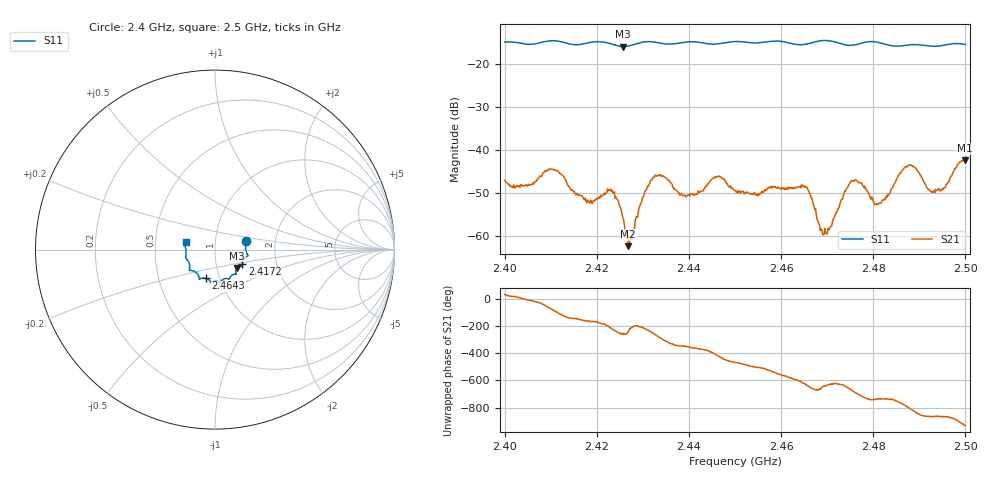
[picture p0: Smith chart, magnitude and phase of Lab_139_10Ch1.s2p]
# Hz S RI R 50
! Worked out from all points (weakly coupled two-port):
!   601 points, 2.4 GHz to 2.5 GHz, reference 50 ohm
!   highest |S21| = -42.31 dB at 2.4998 GHz (marker M1); lowest = -62.3 dB at 2.4268 GHz (marker M2)
!   lowest |S11| = -15.9 dB at 2.4257 GHz (marker M3), VSWR 1.38, Z = 62.4 - j13.1 ohm
!   |S11| at or under -10 dB: start of sweep to end of sweep
!   S12 and S22 are empty: the file has one direction only
!   S11 on the Smith chart (normalised r, x): 2.4 GHz: 1.41, +0.14; 2.4172 GHz: 1.34, -0.22; 2.4643 GHz: 0.86, -0.28; 2.5 GHz: 0.72, +0.06
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2.4e9  0.1734 0.0497  0.00379 0.00239  0 0  0 0
2.4105e9  0.1839 -0.0334  0.000954 -0.00595  0 0  0 0
2.416667e9  0.1528 -0.0749  -0.0027 -0.00129  0 0  0 0
2.417167e9  0.1522 -0.0807  -0.00256 -0.000933  0 0  0 0
2.422833e9  0.1465 -0.0934  -0.00299 0.00168  0 0  0 0
2.425667e9  0.1224 -0.1026  -0.000504 0.00155  0 0  0 0
2.426833e9  0.1169 -0.1128  -0.000373 0.000672  0 0  0 0
2.4305e9  0.1186 -0.1372  -0.00259 0.00214  0 0  0 0
2.433333e9  0.1128 -0.1365  0.000706 0.00513  0 0  0 0
2.439167e9  0.0809 -0.1604  0.00294 0.000648  0 0  0 0
2.446167e9  0.0461 -0.1655  0.00282 -0.0041  0 0  0 0
2.45e9  0.0298 -0.1807  -0.00102 -0.00327  0 0  0 0
2.464333e9  -0.0501 -0.1603  -0.00126 0.00344  0 0  0 0
2.466667e9  -0.0761 -0.1598  0.00133 0.00245  0 0  0 0
2.4695e9  -0.0878 -0.1667  0.000284 0.0012  0 0  0 0
2.475333e9  -0.1098 -0.1238  0.00302 0.00329  0 0  0 0
2.480667e9  -0.1427 -0.111  0.00228 -0.000741  0 0  0 0
2.483333e9  -0.1407 -0.0894  0.00288 -0.000925  0 0  0 0
2.487333e9  -0.1573 -0.0545  0.00184 -0.00613  0 0  0 0
2.492833e9  -0.1605 -0.0155  -0.00268 -0.0018  0 0  0 0
2.499833e9  -0.1646 0.041  -0.00663 0.00385  0 0  0 0
2.5e9  -0.1638 0.0421  -0.00646 0.00397  0 0  0 0
